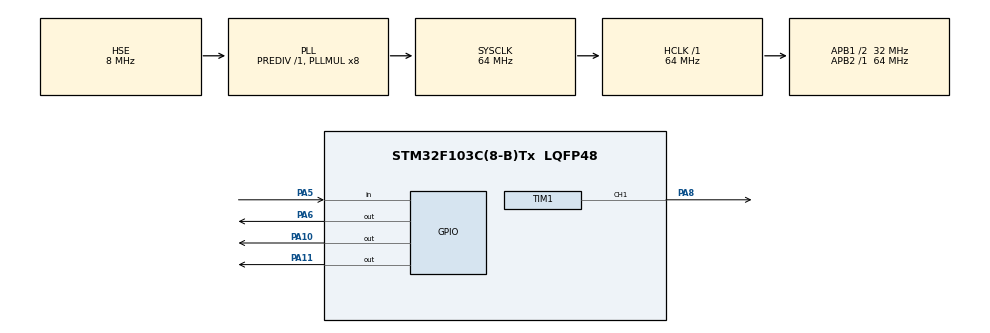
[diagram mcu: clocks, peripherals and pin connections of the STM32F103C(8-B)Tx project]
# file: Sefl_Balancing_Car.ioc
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Mcu.Family=STM32F1
Mcu.Name=STM32F103C(8-B)Tx
Mcu.Package=LQFP48
NVIC.PriorityGroup=NVIC_PRIORITYGROUP_4
NVIC.TIM3_IRQn=true\:0\:0\:false\:false\:true\:true\:true\:true
PA10.Signal=GPIO_Output
PA11.Signal=GPIO_Output
PA13.Mode=Serial_Wire
PA13.Signal=SYS_JTMS-SWDIO
PA14.Mode=Serial_Wire
PA14.Signal=SYS_JTCK-SWCLK
PA5.Signal=GPIO_Input
PA6.Signal=GPIO_Output
PA8.Signal=S_TIM1_CH1
PC14-OSC32_IN.Mode=LSE-External-Oscillator
PC14-OSC32_IN.Signal=RCC_OSC32_IN
PC15-OSC32_OUT.Mode=LSE-External-Oscillator
PC15-OSC32_OUT.Signal=RCC_OSC32_OUT
PD0-OSC_IN.Mode=HSE-External-Oscillator
PD0-OSC_IN.Signal=RCC_OSC_IN
PD1-OSC_OUT.Mode=HSE-External-Oscillator
PD1-OSC_OUT.Signal=RCC_OSC_OUT
ProjectManager.HeapSize=0x200
ProjectManager.StackSize=0x400
ProjectManager.TargetToolchain=MDK-ARM V5.32
RCC.ADCPresc=RCC_ADCPCLK2_DIV8
RCC.AHBFreq_Value=64000000
RCC.APB1CLKDivider=RCC_HCLK_DIV2
RCC.APB1Freq_Value=32000000
RCC.APB1TimFreq_Value=64000000
RCC.APB2Freq_Value=64000000
RCC.APB2TimFreq_Value=64000000
RCC.HCLKFreq_Value=64000000
RCC.PLLMUL=RCC_PLL_MUL8
RCC.PLLSourceVirtual=RCC_PLLSOURCE_HSE
RCC.SYSCLKFreq_VALUE=64000000
RCC.SYSCLKSource=RCC_SYSCLKSOURCE_PLLCLK
RCC.USBFreq_Value=64000000
SH.S_TIM1_CH1.0=TIM1_CH1,PWM Generation1 CH1
TIM1.Channel-PWM\ Generation1\ CH1=TIM_CHANNEL_1
TIM1.Period=3199
TIM1.Prescaler=63
TIM2.Period=9999
TIM2.Prescaler=63
TIM3.Period=49999
TIM3.Prescaler=63
VP_TIM1_VS_ClockSourceINT.Mode=Internal
VP_TIM2_VS_ClockSourceINT.Mode=Internal
VP_TIM3_VS_ClockSourceINT.Mode=Internal
board=custom

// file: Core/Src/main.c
/* USER CODE BEGIN Header */
/**
  ******************************************************************************
  * @file           : main.c
  * @brief          : Main program body
  ******************************************************************************
  * @attention
  *
  * Copyright (c) 2026 STMicroelectronics.
  * All rights reserved.
  *
  * This software is licensed under terms that can be found in the LICENSE file
  * in the root directory of this software component.
  * If no LICENSE file comes with this software, it is provided AS-IS.
  *
  ******************************************************************************
  */
/* USER CODE END Header */
#include "main.h"

/* USER CODE BEGIN Includes */
#include "srf05.h"
/* USER CODE END Includes */

TIM_HandleTypeDef htim1;
TIM_HandleTypeDef htim2;
TIM_HandleTypeDef htim3;

void SystemClock_Config(void);
static void MX_GPIO_Init(void);
static void MX_TIM1_Init(void);
static void MX_TIM2_Init(void);
static void MX_TIM3_Init(void);

/* USER CODE BEGIN 0 */
uint32_t speed = 0;
uint32_t distance = 0.0f;
SRF05_HandleTypeDef hSrf;

void AdjustSpeed(){
	distance = (uint32_t)SRF05_GetDistance(&hSrf);

	if (distance == 0 || distance > 400) {
		distance = 0;
	}

	if(distance >= 20 && distance <= 100){
		speed = 1000 + (distance * 20);
		if (speed > 3199) speed = 3199;
		HAL_GPIO_WritePin(GPIOA, GPIO_PIN_10, 1);
		HAL_GPIO_WritePin(GPIOA, GPIO_PIN_11, 0);
		__HAL_TIM_SetCompare(&htim1, TIM_CHANNEL_1, speed);
	}
	else if (distance >= 10 && distance < 20) {
		HAL_GPIO_WritePin(GPIOA, GPIO_PIN_10, 0);
		HAL_GPIO_WritePin(GPIOA, GPIO_PIN_11, 0);
		__HAL_TIM_SetCompare(&htim1, TIM_CHANNEL_1, 0);
	}
	else if (distance > 0 && distance < 10) {
		speed = 1000 + ((10 - distance) * 50);
		if (speed > 3199) speed = 3199;
		HAL_GPIO_WritePin(GPIOA, GPIO_PIN_10, 0);
		HAL_GPIO_WritePin(GPIOA, GPIO_PIN_11, 1);
		__HAL_TIM_SetCompare(&htim1, TIM_CHANNEL_1, speed);
	}
}

void HAL_TIM_PeriodElapsedCallback(TIM_HandleTypeDef *htim)
{
	if (htim->Instance == TIM3) {
	 AdjustSpeed();
	}
}
/* USER CODE END 0 */

int main(void)
{

  /* MCU Configuration--------------------------------------------------------*/

  /* Reset of all peripherals, Initializes the Flash interface and the Systick. */
  HAL_Init();

  /* Configure the system clock */
  SystemClock_Config();

  /* Initialize all configured peripherals */
  MX_GPIO_Init();
  MX_TIM1_Init();
  MX_TIM2_Init();
  MX_TIM3_Init();
  /* USER CODE BEGIN 2 */
	HAL_TIM_PWM_Start(&htim1, TIM_CHANNEL_1);
	HAL_GPIO_WritePin(GPIOA, GPIO_PIN_10, 1);
	HAL_GPIO_WritePin(GPIOA, GPIO_PIN_11, 0);

	HAL_TIM_Base_Start(&htim2);
	HAL_TIM_Base_Start_IT(&htim3);
	SRF05_Init(&hSrf, GPIOA, GPIO_PIN_6, GPIOA, GPIO_PIN_5, &htim2);

  /* USER CODE END 2 */

  /* Infinite loop */
  while (1)
  {

  }
}

void SystemClock_Config(void)
{
  RCC_OscInitTypeDef RCC_OscInitStruct = {0};
  RCC_ClkInitTypeDef RCC_ClkInitStruct = {0};

  /** Initializes the RCC Oscillators according to the specified parameters
  * in the RCC_OscInitTypeDef structure.
  */
  RCC_OscInitStruct.OscillatorType = RCC_OSCILLATORTYPE_HSE;
  RCC_OscInitStruct.HSEState = RCC_HSE_ON;
  RCC_OscInitStruct.HSEPredivValue = RCC_HSE_PREDIV_DIV1;
  RCC_OscInitStruct.HSIState = RCC_HSI_ON;
  RCC_OscInitStruct.PLL.PLLState = RCC_PLL_ON;
  RCC_OscInitStruct.PLL.PLLSource = RCC_PLLSOURCE_HSE;
  RCC_OscInitStruct.PLL.PLLMUL = RCC_PLL_MUL8;
  if (HAL_RCC_OscConfig(&RCC_OscInitStruct) != HAL_OK)
  {
    Error_Handler();
  }

  /** Initializes the CPU, AHB and APB buses clocks
  */
  RCC_ClkInitStruct.ClockType = RCC_CLOCKTYPE_HCLK|RCC_CLOCKTYPE_SYSCLK
                              |RCC_CLOCKTYPE_PCLK1|RCC_CLOCKTYPE_PCLK2;
  RCC_ClkInitStruct.SYSCLKSource = RCC_SYSCLKSOURCE_PLLCLK;
  RCC_ClkInitStruct.AHBCLKDivider = RCC_SYSCLK_DIV1;
  RCC_ClkInitStruct.APB1CLKDivider = RCC_HCLK_DIV2;
  RCC_ClkInitStruct.APB2CLKDivider = RCC_HCLK_DIV1;

  if (HAL_RCC_ClockConfig(&RCC_ClkInitStruct, FLASH_LATENCY_2) != HAL_OK)
  {
    Error_Handler();
  }
}

static void MX_TIM1_Init(void)
{

  TIM_ClockConfigTypeDef sClockSourceConfig = {0};
  TIM_MasterConfigTypeDef sMasterConfig = {0};
  TIM_OC_InitTypeDef sConfigOC = {0};
  TIM_BreakDeadTimeConfigTypeDef sBreakDeadTimeConfig = {0};

  htim1.Instance = TIM1;
  htim1.Init.Prescaler = 63;
  htim1.Init.CounterMode = TIM_COUNTERMODE_UP;
  htim1.Init.Period = 3199;
  htim1.Init.ClockDivision = TIM_CLOCKDIVISION_DIV1;
  htim1.Init.RepetitionCounter = 0;
  htim1.Init.AutoReloadPreload = TIM_AUTORELOAD_PRELOAD_DISABLE;
  if (HAL_TIM_Base_Init(&htim1) != HAL_OK)
  {
    Error_Handler();
  }
  sClockSourceConfig.ClockSource = TIM_CLOCKSOURCE_INTERNAL;
  if (HAL_TIM_ConfigClockSource(&htim1, &sClockSourceConfig) != HAL_OK)
  {
    Error_Handler();
  }
  if (HAL_TIM_PWM_Init(&htim1) != HAL_OK)
  {
    Error_Handler();
  }
  sMasterConfig.MasterOutputTrigger = TIM_TRGO_RESET;
  sMasterConfig.MasterSlaveMode = TIM_MASTERSLAVEMODE_DISABLE;
  if (HAL_TIMEx_MasterConfigSynchronization(&htim1, &sMasterConfig) != HAL_OK)
  {
    Error_Handler();
  }
  sConfigOC.OCMode = TIM_OCMODE_PWM1;
  sConfigOC.Pulse = 0;
  sConfigOC.OCPolarity = TIM_OCPOLARITY_HIGH;
  sConfigOC.OCNPolarity = TIM_OCNPOLARITY_HIGH;
  sConfigOC.OCFastMode = TIM_OCFAST_DISABLE;
  sConfigOC.OCIdleState = TIM_OCIDLESTATE_RESET;
  sConfigOC.OCNIdleState = TIM_OCNIDLESTATE_RESET;
  if (HAL_TIM_PWM_ConfigChannel(&htim1, &sConfigOC, TIM_CHANNEL_1) != HAL_OK)
  {
    Error_Handler();
  }
  sBreakDeadTimeConfig.OffStateRunMode = TIM_OSSR_DISABLE;
  sBreakDeadTimeConfig.OffStateIDLEMode = TIM_OSSI_DISABLE;
  sBreakDeadTimeConfig.LockLevel = TIM_LOCKLEVEL_OFF;
  sBreakDeadTimeConfig.DeadTime = 0;
  sBreakDeadTimeConfig.BreakState = TIM_BREAK_DISABLE;
  sBreakDeadTimeConfig.BreakPolarity = TIM_BREAKPOLARITY_HIGH;
  sBreakDeadTimeConfig.AutomaticOutput = TIM_AUTOMATICOUTPUT_DISABLE;
  if (HAL_TIMEx_ConfigBreakDeadTime(&htim1, &sBreakDeadTimeConfig) != HAL_OK)
  {
    Error_Handler();
  }
  HAL_TIM_MspPostInit(&htim1);

}

static void MX_TIM2_Init(void)
{

  TIM_ClockConfigTypeDef sClockSourceConfig = {0};
  TIM_MasterConfigTypeDef sMasterConfig = {0};

  htim2.Instance = TIM2;
  htim2.Init.Prescaler = 63;
  htim2.Init.CounterMode = TIM_COUNTERMODE_UP;
  htim2.Init.Period = 9999;
  htim2.Init.ClockDivision = TIM_CLOCKDIVISION_DIV1;
  htim2.Init.AutoReloadPreload = TIM_AUTORELOAD_PRELOAD_DISABLE;
  if (HAL_TIM_Base_Init(&htim2) != HAL_OK)
  {
    Error_Handler();
  }
  sClockSourceConfig.ClockSource = TIM_CLOCKSOURCE_INTERNAL;
  if (HAL_TIM_ConfigClockSource(&htim2, &sClockSourceConfig) != HAL_OK)
  {
    Error_Handler();
  }
  sMasterConfig.MasterOutputTrigger = TIM_TRGO_RESET;
  sMasterConfig.MasterSlaveMode = TIM_MASTERSLAVEMODE_DISABLE;
  if (HAL_TIMEx_MasterConfigSynchronization(&htim2, &sMasterConfig) != HAL_OK)
  {
    Error_Handler();
  }

}

static void MX_TIM3_Init(void)
{

  TIM_ClockConfigTypeDef sClockSourceConfig = {0};
  TIM_MasterConfigTypeDef sMasterConfig = {0};

  htim3.Instance = TIM3;
  htim3.Init.Prescaler = 63;
  htim3.Init.CounterMode = TIM_COUNTERMODE_UP;
  htim3.Init.Period = 49999;
  htim3.Init.ClockDivision = TIM_CLOCKDIVISION_DIV1;
  htim3.Init.AutoReloadPreload = TIM_AUTORELOAD_PRELOAD_DISABLE;
  if (HAL_TIM_Base_Init(&htim3) != HAL_OK)
  {
    Error_Handler();
  }
  sClockSourceConfig.ClockSource = TIM_CLOCKSOURCE_INTERNAL;
  if (HAL_TIM_ConfigClockSource(&htim3, &sClockSourceConfig) != HAL_OK)
  {
    Error_Handler();
  }
  sMasterConfig.MasterOutputTrigger = TIM_TRGO_RESET;
  sMasterConfig.MasterSlaveMode = TIM_MASTERSLAVEMODE_DISABLE;
  if (HAL_TIMEx_MasterConfigSynchronization(&htim3, &sMasterConfig) != HAL_OK)
  {
    Error_Handler();
  }

}

static void MX_GPIO_Init(void)
{
  GPIO_InitTypeDef GPIO_InitStruct = {0};

  /* GPIO Ports Clock Enable */
  __HAL_RCC_GPIOC_CLK_ENABLE();
  __HAL_RCC_GPIOD_CLK_ENABLE();
  __HAL_RCC_GPIOA_CLK_ENABLE();

  /*Configure GPIO pin Output Level */
  HAL_GPIO_WritePin(GPIOA, GPIO_PIN_6|GPIO_PIN_10|GPIO_PIN_11, GPIO_PIN_RESET);

  /*Configure GPIO pin : PA5 */
  GPIO_InitStruct.Pin = GPIO_PIN_5;
  GPIO_InitStruct.Mode = GPIO_MODE_INPUT;
  GPIO_InitStruct.Pull = GPIO_NOPULL;
  HAL_GPIO_Init(GPIOA, &GPIO_InitStruct);

  /*Configure GPIO pins : PA6 PA10 PA11 */
  GPIO_InitStruct.Pin = GPIO_PIN_6|GPIO_PIN_10|GPIO_PIN_11;
  GPIO_InitStruct.Mode = GPIO_MODE_OUTPUT_PP;
  GPIO_InitStruct.Pull = GPIO_NOPULL;
  GPIO_InitStruct.Speed = GPIO_SPEED_FREQ_LOW;
  HAL_GPIO_Init(GPIOA, &GPIO_InitStruct);

}

void Error_Handler(void)
{
  __disable_irq();
  while (1)
  {
  }
}
